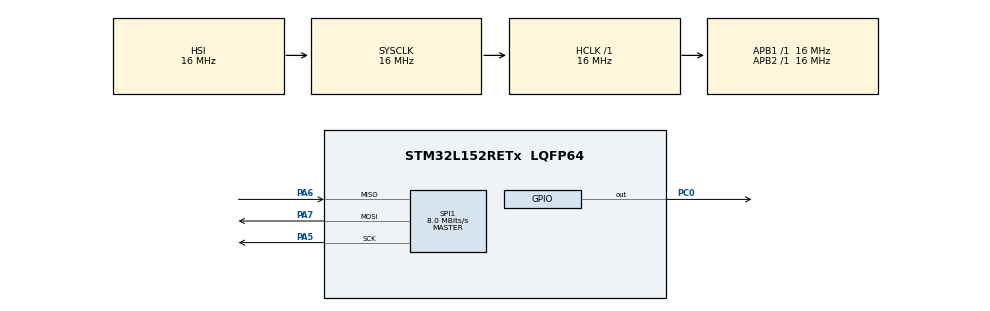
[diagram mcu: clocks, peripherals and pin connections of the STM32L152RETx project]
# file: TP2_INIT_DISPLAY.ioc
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Mcu.Family=STM32L1
Mcu.Name=STM32L152RETx
Mcu.Package=LQFP64
NVIC.PriorityGroup=NVIC_PRIORITYGROUP_4
PA5.Mode=Full_Duplex_Master
PA5.Signal=SPI1_SCK
PA6.Mode=Full_Duplex_Master
PA6.Signal=SPI1_MISO
PA7.Mode=Full_Duplex_Master
PA7.Signal=SPI1_MOSI
PC0.Signal=GPIO_Output
ProjectManager.HeapSize=0x200
ProjectManager.StackSize=0x400
ProjectManager.TargetToolchain=STM32CubeIDE
RCC.AHBFreq_Value=16000000
RCC.APB1Freq_Value=16000000
RCC.APB1TimFreq_Value=16000000
RCC.APB2Freq_Value=16000000
RCC.APB2TimFreq_Value=16000000
RCC.HCLKFreq_Value=16000000
RCC.HSE_VALUE=24000000
RCC.HSI_VALUE=16000000
RCC.LSE_VALUE=32768
RCC.MSI_VALUE=2097000
RCC.SYSCLKFreq_VALUE=16000000
RCC.SYSCLKSource=RCC_SYSCLKSOURCE_HSI
RCC.VCOOutputFreq_Value=48000000
SPI1.CalculateBaudRate=8.0 MBits/s
SPI1.Direction=SPI_DIRECTION_2LINES
SPI1.Mode=SPI_MODE_MASTER
SPI1.VirtualType=VM_MASTER
board=custom

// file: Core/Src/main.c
/* USER CODE BEGIN Header */
/**
  ******************************************************************************
  * @file           : main.c
  * @brief          : Main program body
  ******************************************************************************
  * @attention
  *
  * Copyright (c) 2025 STMicroelectronics.
  * All rights reserved.
  *
  * This software is licensed under terms that can be found in the LICENSE file
  * in the root directory of this software component.
  * If no LICENSE file comes with this software, it is provided AS-IS.
  *
  ******************************************************************************
  */
/* USER CODE END Header */
#include "main.h"

/* USER CODE BEGIN Includes */
#include "max7219.h"
#define V2

/* USER CODE END Includes */

SPI_HandleTypeDef hspi1;

void SystemClock_Config(void);
static void MX_GPIO_Init(void);
static void MX_SPI1_Init(void);
/* USER CODE BEGIN PFP */
void affiche (uint8_t nombre);

/* USER CODE END PFP */

/* USER CODE BEGIN 0 */
void affiche(uint8_t nombre) {
    uint8_t compt_uni;
    uint8_t compt_diz;

    compt_uni = nombre % 10;
    compt_diz = nombre / 10;

    MAX7219_DisplayChar(1, compt_diz);
    MAX7219_DisplayChar(2, compt_uni);
    MAX7219_DisplayChar(3, compt_diz);
    MAX7219_DisplayChar(4, compt_uni);
}

/* USER CODE END 0 */

int main(void)
{

  /* MCU Configuration--------------------------------------------------------*/

  /* Reset of all peripherals, Initializes the Flash interface and the Systick. */
  HAL_Init();

  /* Configure the system clock */
  SystemClock_Config();

  /* Initialize all configured peripherals */
  MX_GPIO_Init();
  MX_SPI1_Init();
  /* USER CODE BEGIN 2 */
  MAX7219_Init();

  /* USER CODE END 2 */

  /* Infinite loop */
  /* USER CODE BEGIN WHILE */
  MAX7219_Clear();
  uint8_t compteur = 0;
  while (1)
  {
    /* USER CODE END WHILE */

    /* USER CODE BEGIN 3 */
#ifdef V1
	  MAX7219_DisplayChar(1, 3);
	  MAX7219_DisplayChar(2, 5);
#endif
#ifdef V2
	  affiche(compteur);
	  compteur++;
	  if (compteur >= 100) {
		  compteur = 0;
	  }
	  HAL_Delay(500);
#endif
  }
  /* USER CODE END 3 */
}

void SystemClock_Config(void)
{
  RCC_OscInitTypeDef RCC_OscInitStruct = {0};
  RCC_ClkInitTypeDef RCC_ClkInitStruct = {0};

  /** Configure the main internal regulator output voltage
  */
  __HAL_PWR_VOLTAGESCALING_CONFIG(PWR_REGULATOR_VOLTAGE_SCALE1);

  /** Initializes the RCC Oscillators according to the specified parameters
  * in the RCC_OscInitTypeDef structure.
  */
  RCC_OscInitStruct.OscillatorType = RCC_OSCILLATORTYPE_HSI;
  RCC_OscInitStruct.HSIState = RCC_HSI_ON;
  RCC_OscInitStruct.HSICalibrationValue = RCC_HSICALIBRATION_DEFAULT;
  RCC_OscInitStruct.PLL.PLLState = RCC_PLL_NONE;
  if (HAL_RCC_OscConfig(&RCC_OscInitStruct) != HAL_OK)
  {
    Error_Handler();
  }

  /** Initializes the CPU, AHB and APB buses clocks
  */
  RCC_ClkInitStruct.ClockType = RCC_CLOCKTYPE_HCLK|RCC_CLOCKTYPE_SYSCLK
                              |RCC_CLOCKTYPE_PCLK1|RCC_CLOCKTYPE_PCLK2;
  RCC_ClkInitStruct.SYSCLKSource = RCC_SYSCLKSOURCE_HSI;
  RCC_ClkInitStruct.AHBCLKDivider = RCC_SYSCLK_DIV1;
  RCC_ClkInitStruct.APB1CLKDivider = RCC_HCLK_DIV1;
  RCC_ClkInitStruct.APB2CLKDivider = RCC_HCLK_DIV1;

  if (HAL_RCC_ClockConfig(&RCC_ClkInitStruct, FLASH_LATENCY_0) != HAL_OK)
  {
    Error_Handler();
  }
}

static void MX_SPI1_Init(void)
{

  /* SPI1 parameter configuration*/
  hspi1.Instance = SPI1;
  hspi1.Init.Mode = SPI_MODE_MASTER;
  hspi1.Init.Direction = SPI_DIRECTION_2LINES;
  hspi1.Init.DataSize = SPI_DATASIZE_8BIT;
  hspi1.Init.CLKPolarity = SPI_POLARITY_LOW;
  hspi1.Init.CLKPhase = SPI_PHASE_1EDGE;
  hspi1.Init.NSS = SPI_NSS_SOFT;
  hspi1.Init.BaudRatePrescaler = SPI_BAUDRATEPRESCALER_2;
  hspi1.Init.FirstBit = SPI_FIRSTBIT_MSB;
  hspi1.Init.TIMode = SPI_TIMODE_DISABLE;
  hspi1.Init.CRCCalculation = SPI_CRCCALCULATION_DISABLE;
  hspi1.Init.CRCPolynomial = 10;
  if (HAL_SPI_Init(&hspi1) != HAL_OK)
  {
    Error_Handler();
  }

}

static void MX_GPIO_Init(void)
{
  GPIO_InitTypeDef GPIO_InitStruct = {0};

  /* GPIO Ports Clock Enable */
  __HAL_RCC_GPIOC_CLK_ENABLE();
  __HAL_RCC_GPIOA_CLK_ENABLE();

  /*Configure GPIO pin Output Level */
  HAL_GPIO_WritePin(GPIOC, GPIO_PIN_0, GPIO_PIN_RESET);

  /*Configure GPIO pin : PC0 */
  GPIO_InitStruct.Pin = GPIO_PIN_0;
  GPIO_InitStruct.Mode = GPIO_MODE_OUTPUT_PP;
  GPIO_InitStruct.Pull = GPIO_NOPULL;
  GPIO_InitStruct.Speed = GPIO_SPEED_FREQ_LOW;
  HAL_GPIO_Init(GPIOC, &GPIO_InitStruct);

}

void Error_Handler(void)
{
  __disable_irq();
  while (1)
  {
  }
}
